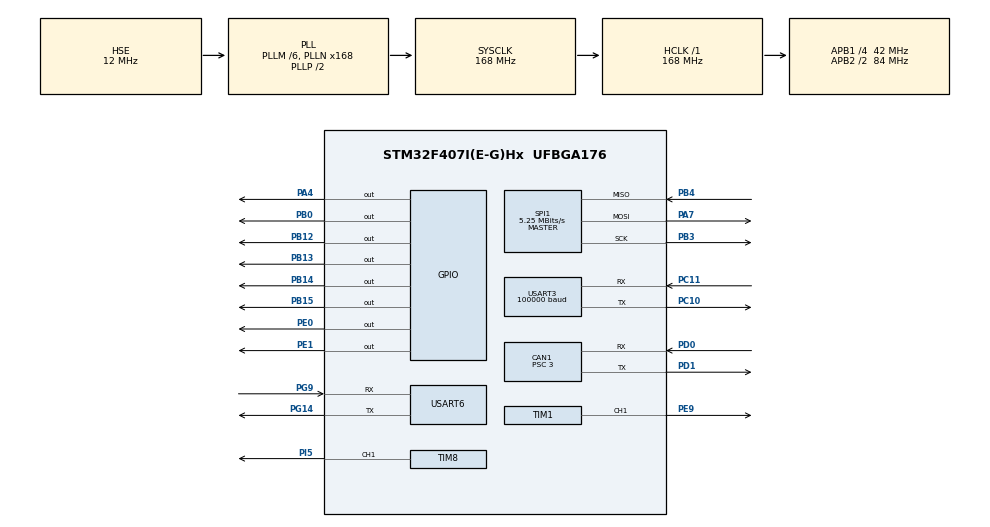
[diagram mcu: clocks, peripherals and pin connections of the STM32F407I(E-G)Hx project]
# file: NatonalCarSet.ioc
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CAN1.BS1=CAN_BS1_10TQ
CAN1.BS2=CAN_BS2_3TQ
CAN1.CalculateBaudRate=1000000
CAN1.CalculateTimeBit=1000
CAN1.CalculateTimeQuantum=71.42857142857143
CAN1.Prescaler=3
Dma.Request0=USART3_RX
Dma.Request1=TIM8_CH1
Dma.TIM8_CH1.1.Direction=DMA_MEMORY_TO_PERIPH
Dma.TIM8_CH1.1.FIFOMode=DMA_FIFOMODE_DISABLE
Dma.TIM8_CH1.1.Instance=DMA2_Stream2
Dma.TIM8_CH1.1.MemDataAlignment=DMA_MDATAALIGN_HALFWORD
Dma.TIM8_CH1.1.MemInc=DMA_MINC_ENABLE
Dma.TIM8_CH1.1.Mode=DMA_NORMAL
Dma.TIM8_CH1.1.PeriphDataAlignment=DMA_PDATAALIGN_HALFWORD
Dma.TIM8_CH1.1.PeriphInc=DMA_PINC_DISABLE
Dma.TIM8_CH1.1.Priority=DMA_PRIORITY_HIGH
Dma.USART3_RX.0.Direction=DMA_PERIPH_TO_MEMORY
Dma.USART3_RX.0.FIFOMode=DMA_FIFOMODE_DISABLE
Dma.USART3_RX.0.Instance=DMA1_Stream1
Dma.USART3_RX.0.MemDataAlignment=DMA_MDATAALIGN_BYTE
Dma.USART3_RX.0.MemInc=DMA_MINC_ENABLE
Dma.USART3_RX.0.Mode=DMA_CIRCULAR
Dma.USART3_RX.0.PeriphDataAlignment=DMA_PDATAALIGN_BYTE
Dma.USART3_RX.0.PeriphInc=DMA_PINC_DISABLE
Dma.USART3_RX.0.Priority=DMA_PRIORITY_LOW
FREERTOS.Tasks01=defaultTask,24,128,StartDefaultTask,Default,NULL,Dynamic,NULL,NULL
FREERTOS.configENABLE_FPU=1
Mcu.Family=STM32F4
Mcu.Name=STM32F407I(E-G)Hx
Mcu.Package=UFBGA176
NVIC.CAN1_RX0_IRQn=true\:5\:0\:false\:false\:true\:true\:true\:true\:true
NVIC.CAN1_TX_IRQn=true\:5\:0\:false\:false\:true\:true\:true\:true\:true
NVIC.DMA1_Stream1_IRQn=true\:5\:0\:false\:false\:true\:true\:false\:true\:true
NVIC.DMA2_Stream2_IRQn=true\:5\:0\:false\:false\:true\:true\:false\:true\:true
NVIC.PriorityGroup=NVIC_PRIORITYGROUP_4
NVIC.TIM2_IRQn=true\:15\:0\:false\:false\:true\:false\:false\:true\:true
NVIC.TIM8_BRK_TIM12_IRQn=true\:5\:0\:false\:false\:true\:true\:true\:true\:true
NVIC.TimeBase=TIM2_IRQn
NVIC.TimeBaseIP=TIM2
NVIC.USART3_IRQn=true\:5\:0\:false\:false\:true\:true\:true\:true\:true
PA13.Mode=Serial_Wire
PA13.Signal=SYS_JTMS-SWDIO
PA14.Mode=Serial_Wire
PA14.Signal=SYS_JTCK-SWCLK
PA4.GPIO_Speed=GPIO_SPEED_FREQ_VERY_HIGH
PA4.PinState=GPIO_PIN_SET
PA4.Signal=GPIO_Output
PA7.Mode=Full_Duplex_Master
PA7.Signal=SPI1_MOSI
PB0.GPIO_Speed=GPIO_SPEED_FREQ_VERY_HIGH
PB0.PinState=GPIO_PIN_SET
PB0.Signal=GPIO_Output
PB12.GPIO_Speed=GPIO_SPEED_FREQ_VERY_HIGH
PB12.Signal=GPIO_Output
PB13.GPIO_Speed=GPIO_SPEED_FREQ_VERY_HIGH
PB13.Signal=GPIO_Output
PB14.GPIO_Speed=GPIO_SPEED_FREQ_VERY_HIGH
PB14.Signal=GPIO_Output
PB15.GPIO_Speed=GPIO_SPEED_FREQ_VERY_HIGH
PB15.Signal=GPIO_Output
PB3.Mode=Full_Duplex_Master
PB3.Signal=SPI1_SCK
PB4.Mode=Full_Duplex_Master
PB4.Signal=SPI1_MISO
PC10.Mode=Asynchronous
PC10.Signal=USART3_TX
PC11.Mode=Asynchronous
PC11.Signal=USART3_RX
PC14-OSC32_IN.Mode=LSE-External-Oscillator
PC14-OSC32_IN.Signal=RCC_OSC32_IN
PC15-OSC32_OUT.Mode=LSE-External-Oscillator
PC15-OSC32_OUT.Signal=RCC_OSC32_OUT
PD0.Mode=CAN_Activate
PD0.Signal=CAN1_RX
PD1.Mode=CAN_Activate
PD1.Signal=CAN1_TX
PE0.GPIO_Speed=GPIO_SPEED_FREQ_VERY_HIGH
PE0.Signal=GPIO_Output
PE1.GPIO_Speed=GPIO_SPEED_FREQ_VERY_HIGH
PE1.Signal=GPIO_Output
PE9.GPIO_Speed=GPIO_SPEED_FREQ_VERY_HIGH
PE9.Signal=S_TIM1_CH1
PG14.Mode=Asynchronous
PG14.Signal=USART6_TX
PG9.Mode=Asynchronous
PG9.Signal=USART6_RX
PH0-OSC_IN.Mode=HSE-External-Oscillator
PH0-OSC_IN.Signal=RCC_OSC_IN
PH1-OSC_OUT.Mode=HSE-External-Oscillator
PH1-OSC_OUT.Signal=RCC_OSC_OUT
PI5.GPIO_Speed=GPIO_SPEED_FREQ_VERY_HIGH
PI5.Signal=S_TIM8_CH1
ProjectManager.HeapSize=0x200
ProjectManager.StackSize=0x400
ProjectManager.TargetToolchain=CMake
RCC.48MHZClocksFreq_Value=84000000
RCC.AHBFreq_Value=168000000
RCC.APB1CLKDivider=RCC_HCLK_DIV4
RCC.APB1Freq_Value=42000000
RCC.APB1TimFreq_Value=84000000
RCC.APB2CLKDivider=RCC_HCLK_DIV2
RCC.APB2Freq_Value=84000000
RCC.APB2TimFreq_Value=168000000
RCC.CortexFreq_Value=168000000
RCC.HCLKFreq_Value=168000000
RCC.HSE_VALUE=12000000
RCC.HSI_VALUE=16000000
RCC.PLLM=6
RCC.PLLN=168
RCC.PLLSourceVirtual=RCC_PLLSOURCE_HSE
RCC.SYSCLKFreq_VALUE=168000000
RCC.SYSCLKSource=RCC_SYSCLKSOURCE_PLLCLK
RCC.VCOOutputFreq_Value=336000000
SH.S_TIM1_CH1.0=TIM1_CH1,PWM Generation1 CH1
SH.S_TIM8_CH1.0=TIM8_CH1,PWM Generation1 CH1
SPI1.BaudRatePrescaler=SPI_BAUDRATEPRESCALER_16
SPI1.CLKPhase=SPI_PHASE_2EDGE
SPI1.CLKPolarity=SPI_POLARITY_HIGH
SPI1.CalculateBaudRate=5.25 MBits/s
SPI1.Direction=SPI_DIRECTION_2LINES
SPI1.Mode=SPI_MODE_MASTER
SPI1.VirtualType=VM_MASTER
TIM1.Channel-PWM\ Generation1\ CH1=TIM_CHANNEL_1
TIM1.Period=209
TIM8.Channel-PWM\ Generation1\ CH1=TIM_CHANNEL_1
TIM8.Period=209
USART3.BaudRate=100000
USART3.Parity=PARITY_EVEN
USART3.StopBits=STOPBITS_2
USART3.VirtualMode=VM_ASYNC
USART3.WordLength=WORDLENGTH_9B
USART6.VirtualMode=VM_ASYNC
VP_FREERTOS_VS_CMSIS_V2.Mode=CMSIS_V2
VP_SYS_VS_tim2.Mode=TIM2
VP_TIM1_VS_ClockSourceINT.Mode=Internal
VP_TIM8_VS_ClockSourceINT.Mode=Internal
board=custom

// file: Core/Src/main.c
/* USER CODE BEGIN Header */
/**
  ******************************************************************************
  * @file           : main.c
  * @brief          : Main program body
  ******************************************************************************
  * @attention
  *
  * Copyright (c) 2026 STMicroelectronics.
  * All rights reserved.
  *
  * This software is licensed under terms that can be found in the LICENSE file
  * in the root directory of this software component.
  * If no LICENSE file comes with this software, it is provided AS-IS.
  *
  ******************************************************************************
  */
/* USER CODE END Header */
#include "main.h"
#include "cmsis_os.h"
#include "can.h"
#include "dma.h"
#include "spi.h"
#include "tim.h"
#include "usart.h"
#include "gpio.h"

/* USER CODE BEGIN Includes */
#include "app_config.h"
#include "remote.h"
#include "motor.h"
#include "chassis.h"
#include "lift.h"
#include "valve.h"
#include "watchdog.h"
#include "imu.h"
#include "ws2815.h"
/* USER CODE END Includes */

void SystemClock_Config(void);
void MX_FREERTOS_Init(void);

int main(void)
{

  /* MCU Configuration--------------------------------------------------------*/

  /* Reset of all peripherals, Initializes the Flash interface and the Systick. */
  HAL_Init();

  /* Configure the system clock */
  SystemClock_Config();

  /* Initialize all configured peripherals */
  MX_GPIO_Init();
  MX_DMA_Init();
  MX_CAN1_Init();
  MX_USART3_UART_Init();
  MX_USART6_UART_Init();
  MX_SPI1_Init();
  MX_TIM1_Init();
  MX_TIM8_Init();
  /* USER CODE BEGIN 2 */

  /*
   * 应用层初始化 — 必须在 MX 外设初始化之后, osKernelInitialize 之前
   */
  remote_control_init();  /* USART3 DMA + SBUS IDLE 中断启动 */
  Motor_Init();           /* CAN 滤波器配置 + 启动 */
  Chassis_Init();         /* 底盘 4 路 PID 初始化 */
  Lift_Init();            /* 升降 PID 初始化 */
  Valve_Init();           /* 电磁阀 GPIO 初始化 */
  Watchdog_Init();        /* LED 指示初始化 */
  WS2815_Init();          /* WS2815 灯带: DMA 中断使能 + 初始复位帧 */
  IMU_Init();             /* 板载 BMI088 初始化 + 零偏校准 (~1s, 需车静止) */

  /* USER CODE END 2 */

  /* Init scheduler */
  osKernelInitialize();  /* Call init function for freertos objects (in cmsis_os2.c) */
  MX_FREERTOS_Init();

  /* Start scheduler */
  osKernelStart();

  /* We should never get here as control is now taken by the scheduler */

  /* Infinite loop */
  while (1)
  {

  }
}

void SystemClock_Config(void)
{
  RCC_OscInitTypeDef RCC_OscInitStruct = {0};
  RCC_ClkInitTypeDef RCC_ClkInitStruct = {0};

  /** Configure the main internal regulator output voltage
  */
  __HAL_RCC_PWR_CLK_ENABLE();
  __HAL_PWR_VOLTAGESCALING_CONFIG(PWR_REGULATOR_VOLTAGE_SCALE1);

  /** Initializes the RCC Oscillators according to the specified parameters
  * in the RCC_OscInitTypeDef structure.
  */
  RCC_OscInitStruct.OscillatorType = RCC_OSCILLATORTYPE_HSE;
  RCC_OscInitStruct.HSEState = RCC_HSE_ON;
  RCC_OscInitStruct.PLL.PLLState = RCC_PLL_ON;
  RCC_OscInitStruct.PLL.PLLSource = RCC_PLLSOURCE_HSE;
  RCC_OscInitStruct.PLL.PLLM = 6;
  RCC_OscInitStruct.PLL.PLLN = 168;
  RCC_OscInitStruct.PLL.PLLP = RCC_PLLP_DIV2;
  RCC_OscInitStruct.PLL.PLLQ = 4;
  if (HAL_RCC_OscConfig(&RCC_OscInitStruct) != HAL_OK)
  {
    Error_Handler();
  }

  /** Initializes the CPU, AHB and APB buses clocks
  */
  RCC_ClkInitStruct.ClockType = RCC_CLOCKTYPE_HCLK|RCC_CLOCKTYPE_SYSCLK
                              |RCC_CLOCKTYPE_PCLK1|RCC_CLOCKTYPE_PCLK2;
  RCC_ClkInitStruct.SYSCLKSource = RCC_SYSCLKSOURCE_PLLCLK;
  RCC_ClkInitStruct.AHBCLKDivider = RCC_SYSCLK_DIV1;
  RCC_ClkInitStruct.APB1CLKDivider = RCC_HCLK_DIV4;
  RCC_ClkInitStruct.APB2CLKDivider = RCC_HCLK_DIV2;

  if (HAL_RCC_ClockConfig(&RCC_ClkInitStruct, FLASH_LATENCY_5) != HAL_OK)
  {
    Error_Handler();
  }
}

/* USER CODE BEGIN 4 */

/*
 * HAL CAN 回调: FIFO0 消息挂起 → 解析 M3508 反馈
 */
void HAL_CAN_RxFifo0MsgPendingCallback(CAN_HandleTypeDef *hcan)
{
    Motor_RxCallback(hcan);
}

/*
 * UART 接收完成回调 (DMA Circular 模式通常不触发)
 */
void HAL_UART_RxCpltCallback(UART_HandleTypeDef *huart)
{
    (void)huart;
}

/* USER CODE END 4 */

void HAL_TIM_PeriodElapsedCallback(TIM_HandleTypeDef *htim)
{
  if (htim->Instance == TIM2)
  {
    HAL_IncTick();
  }
}

void Error_Handler(void)
{
  /* USER CODE BEGIN Error_Handler_Debug */
  /* User can add his own implementation to report the HAL error return state */
  Fault_Record(FAULT_HAL_ERROR);   /* 记录故障码: 复位后 LED 闪 9 次 */
  __disable_irq();
  while (1)
  {
  }
  /* USER CODE END Error_Handler_Debug */
}

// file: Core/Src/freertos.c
/* USER CODE BEGIN Header */
/**
  ******************************************************************************
  * File Name          : freertos.c
  * Description        : Code for freertos applications
  ******************************************************************************
  * @attention
  *
  * Copyright (c) 2026 STMicroelectronics.
  * All rights reserved.
  *
  * This software is licensed under terms that can be found in the LICENSE file
  * in the root directory of this software component.
  * If no LICENSE file comes with this software, it is provided AS-IS.
  *
  ******************************************************************************
  */
/* USER CODE END Header */

#include "FreeRTOS.h"
#include "task.h"
#include "main.h"
#include "cmsis_os.h"

/* USER CODE BEGIN Includes */
#include "ws2815.h"
#include "app_config.h"
#include "watchdog.h"
#include "remote.h"
#include "chassis.h"
#include "lift.h"
#include "valve.h"
/* USER CODE END Includes */

/* USER CODE BEGIN Variables */
/* Definitions for WS2815_task */
osThreadId_t taskWs2815Handle;
const osThreadAttr_t taskWs2815_attributes = {
  .name = "WS2815_task",
  .stack_size = STACK_WS2815,
  .priority = (osPriority_t) PRIO_WS2815,
};

/* Definitions for Watchdog_task */
osThreadId_t taskWatchdogHandle;
const osThreadAttr_t taskWatchdog_attributes = {
  .name = "Watchdog_task",
  .stack_size = STACK_WATCHDOG,
  .priority = (osPriority_t) PRIO_WATCHDOG,
};

/* Definitions for Remote_task */
osThreadId_t taskRemoteHandle;
const osThreadAttr_t taskRemote_attributes = {
  .name = "Remote_task",
  .stack_size = STACK_REMOTE,
  .priority = (osPriority_t) PRIO_REMOTE,
};

/* Definitions for Chassis_task */
osThreadId_t taskChassisHandle;
const osThreadAttr_t taskChassis_attributes = {
  .name = "Chassis_task",
  .stack_size = STACK_CHASSIS,
  .priority = (osPriority_t) PRIO_CHASSIS,
};

/* Definitions for Lift_task */
osThreadId_t taskLiftHandle;
const osThreadAttr_t taskLift_attributes = {
  .name = "Lift_task",
  .stack_size = STACK_LIFT,
  .priority = (osPriority_t) PRIO_LIFT,
};

/* Definitions for Valve_task */
osThreadId_t taskValveHandle;
const osThreadAttr_t taskValve_attributes = {
  .name = "Valve_task",
  .stack_size = STACK_VALVE,
  .priority = (osPriority_t) PRIO_VALVE,
};
/* USER CODE END Variables */
/* Definitions for defaultTask */
osThreadId_t defaultTaskHandle;
const osThreadAttr_t defaultTask_attributes = {
  .name = "defaultTask",
  .stack_size = 128 * 4,
  .priority = (osPriority_t) osPriorityNormal,
};

/* USER CODE BEGIN FunctionPrototypes */
void Watchdog_task(void *argument);
void Remote_task(void *argument);
void Chassis_task(void *argument);
void Lift_task(void *argument);
void Valve_task(void *argument);
void WS2815_task(void *argument);
/* USER CODE END FunctionPrototypes */

void StartDefaultTask(void *argument);

void MX_FREERTOS_Init(void); /* (MISRA C 2004 rule 8.1) */

void MX_FREERTOS_Init(void) {

  /* Create the thread(s) */
  /* creation of defaultTask */
  defaultTaskHandle = osThreadNew(StartDefaultTask, NULL, &defaultTask_attributes);

  /* USER CODE BEGIN RTOS_THREADS */
  /* add threads, ... */
  taskWs2815Handle  = osThreadNew(WS2815_task, NULL, &taskWs2815_attributes);
  taskWatchdogHandle = osThreadNew(Watchdog_task, NULL, &taskWatchdog_attributes);
  taskRemoteHandle   = osThreadNew(Remote_task, NULL, &taskRemote_attributes);
  taskChassisHandle  = osThreadNew(Chassis_task, NULL, &taskChassis_attributes);
  taskLiftHandle     = osThreadNew(Lift_task, NULL, &taskLift_attributes);
  taskValveHandle    = osThreadNew(Valve_task, NULL, &taskValve_attributes);
  if ((defaultTaskHandle == NULL) || (taskWs2815Handle == NULL) ||
      (taskWatchdogHandle == NULL) || (taskRemoteHandle == NULL) ||
      (taskChassisHandle == NULL) || (taskLiftHandle == NULL) ||
      (taskValveHandle == NULL)) {
    Fault_Record(FAULT_MALLOC_FAILED);
    Watchdog_StartIWDG();
    taskDISABLE_INTERRUPTS();
    for (;;) {
    }
  }
  /* USER CODE END RTOS_THREADS */

}

void StartDefaultTask(void *argument)
{
  for(;;)
  {
    osDelay(1);
  }
}

/* USER CODE BEGIN Application */

void vApplicationStackOverflowHook(TaskHandle_t task, char *task_name)
{
    (void)task;
    (void)task_name;
    g_stack_overflow_flag = 1U;
    Fault_Record(FAULT_STACK_OVERFLOW);
    taskDISABLE_INTERRUPTS();
    for (;;) {
    }
}

void vApplicationMallocFailedHook(void)
{
    Fault_Record(FAULT_MALLOC_FAILED);
    taskDISABLE_INTERRUPTS();
    for (;;) {
    }
}

/* ========================================================================= */
/*  Watchdog 安全监控任务 — 最高优先级 (10Hz / 100ms)                          */
/*                                                                            */
/*  职责:                                                                      */
/*    1. 遥控器连接检查 + 电机 CAN 超时检查                                     */
/*    2. LED 状态指示                                                           */
/*    3. 喂硬件 IWDG (任务卡死 ~1s 自动复位)                                    */
/* ========================================================================= */
void Watchdog_task(void *argument)
{
    (void)argument;
    Watchdog_StartIWDG();   /* 启动硬件看门狗，一旦启动不可关闭 */

    const TickType_t period = pdMS_TO_TICKS(100);  /* 10Hz */
    TickType_t wake = xTaskGetTickCount();

    while (1) {
        Watchdog_Update();
        vTaskDelayUntil(&wake, period);
    }
}

/* ========================================================================= */
/*  Remote 遥控器看门狗任务 — 次高优先级 (50Hz / 20ms)                          */
/*                                                                            */
/*  遥控器帧是异步 ISR 处理 (SBUS IDLE 中断), 本任务只负责超时检测。           */
/*  50Hz 空闲循环足够感知 100ms 超时。                                          */
/* ========================================================================= */
void Remote_task(void *argument)
{
    (void)argument;

    const TickType_t period = pdMS_TO_TICKS(20);
    TickType_t wake = xTaskGetTickCount();

    while (1) {
        remote_control_watchdog();   /* 快速返回, 仅检查 last_frame_tick */
        Watchdog_TaskHeartbeat(WATCHDOG_TASK_REMOTE);
        vTaskDelayUntil(&wake, period);
    }
}

/* ========================================================================= */
/*  Chassis 底盘控制任务 — 正常优先级 (200Hz / 5ms)                             */
/*                                                                            */
/*  核心控制循环: 摇杆 → 运动学 → 4路速度PID → CAN 电流指令                     */
/*  IMU 航向积分 (IMU_Update) 在本任务内调用以保证 200Hz 积分频率。             */
/* ========================================================================= */
void Chassis_task(void *argument)
{
    (void)argument;

    const TickType_t period = pdMS_TO_TICKS(CHASSIS_PERIOD_MS);
    TickType_t wake = xTaskGetTickCount();

    while (1) {
        Chassis_Update();
        Watchdog_TaskHeartbeat(WATCHDOG_TASK_CHASSIS);
        vTaskDelayUntil(&wake, period);
    }
}

/* ========================================================================= */
/*  Lift 升降控制任务 — 正常优先级 (100Hz / 10ms)                               */
/*                                                                            */
/*  串级 PID: 位置外环 → 速度内环 → CAN 电流指令                                */
/* ========================================================================= */
void Lift_task(void *argument)
{
    (void)argument;

    const TickType_t period = pdMS_TO_TICKS(LIFT_PERIOD_MS);
    TickType_t wake = xTaskGetTickCount();

    while (1) {
        Lift_Update();
        Watchdog_TaskHeartbeat(WATCHDOG_TASK_LIFT);
        vTaskDelayUntil(&wake, period);
    }
}

/* ========================================================================= */
/*  Valve 电磁阀任务 — 最低优先级 (50Hz / 20ms)                                  */
/*                                                                            */
/*  4 路拨杆边沿检测 → GPIO 开关, 低速不抢 CPU                                  */
/* ========================================================================= */
void Valve_task(void *argument)
{
    (void)argument;

    const TickType_t period = pdMS_TO_TICKS(20);
    TickType_t wake = xTaskGetTickCount();

    while (1) {
        Valve_Process();
        Watchdog_TaskHeartbeat(WATCHDOG_TASK_VALVE);
        vTaskDelayUntil(&wake, period);
    }
}

/* ========================================================================= */
/*  WS2815 灯带任务 — 最低优先级 (50Hz / 20ms)                                 */
/*                                                                            */
/*  呼吸灯效果: 亮度按正弦变化 (灭→最亮→灭), 两条灯带同步。                    */
/*  DMA 异步发送 + 完成中断, 任务不忙等, 不抢控制任务 CPU。                    */
/* ========================================================================= */
void WS2815_task(void *argument)
{
    (void)argument;

    const TickType_t period = pdMS_TO_TICKS(WS2815_BREATH_STEP_MS);
    TickType_t wake = xTaskGetTickCount();

    while (1) {
        WS2815_BreathUpdate();
        vTaskDelayUntil(&wake, period);
    }
}

/* USER CODE END Application */
